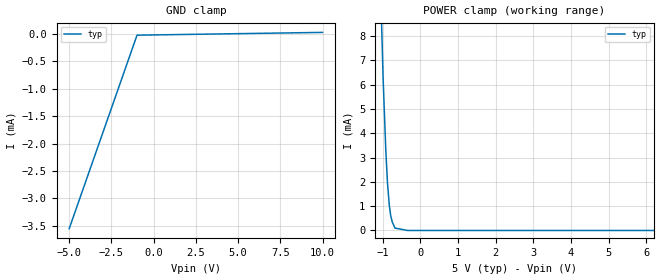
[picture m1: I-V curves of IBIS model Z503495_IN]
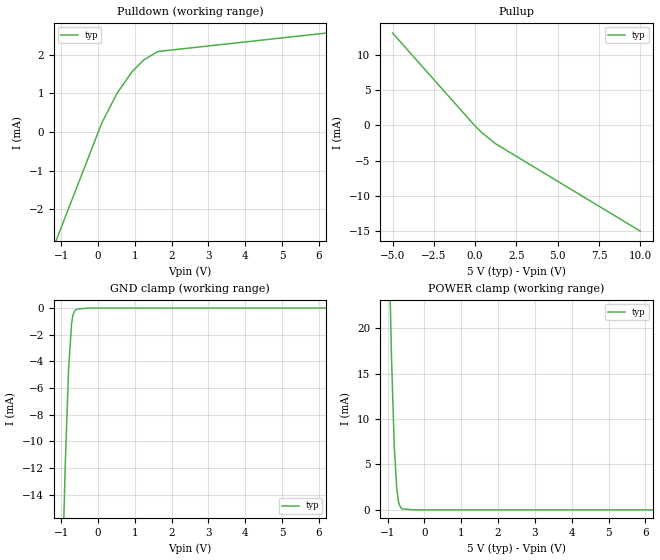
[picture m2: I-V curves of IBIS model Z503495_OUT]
| YOU ARE ONLY AUTHORIZED TO USE THIS SOFTWARE
| ACCORDING TO LICENSOR'S LICENSE RESTRICTIONS.
[IBIS Ver] 3.1
[File Name] mc14021bcp.ibs
[File Rev] 2.0
[Source] Measured and created by ICX Technology
[Date] Friday 7/14/00 9:07:51 AM
[Copyright]
| (C) COPYRIGHT 1993-2000
| MENTOR GRAPHICS CORPORATION
| ICX STANDARD LIBRARY, ICX PROJECT MODELING,
| ICX CUSTOM MODELING, ICX VENDOR MODEL
| ALL RIGHTS RESERVED.
| THE FOLLOWING ARE TRADEMARKS OR SERVICE MARKS OF
| MENTOR GRAPHICS CORPORATION:ICX (R), ICX STANDARD
| LIBRARY(R), ICX PROJECT MODELING(R), ICX CUSTOM
| MODELING(R), qualityIBIS(TM), MODELVIEWER(TM),
| AND MODELEDITOR(TM)
| ALL COPIES OF SOFTWARE, INCLUDING BUT NOT LIMITED TO
| ANY MODIFICATIONS, ENHANCEMENTS OR DERIVATIVE WORKS,
| MUST CONTAIN ALL MENTOR GRAPHICS CORPORATION'S
| NOTICES AND LEGENDS, INCLUDING THOSE EMBEDDED IN
| SOFTWARE AND THOSE AFFIXED TO SOFTWARE MEDIUM
| AND CONTAINER, AS RECEIVED FROM MENTOR GRAPHICS
| CORPORATION.
|  ZAP Model Builder 2.7
[Component] MC14021BCP
[Manufacturer] OnSemiconductor
[Package]
| variable   typ   min   max
R_pkg  .212ohms NA NA
L_pkg  4.758nH NA NA
C_pkg  1.143pF NA NA
[Pin] signal_name  model_name  R_pin  L_pin C_pin
1 P8 Z503495_IN .224 7.258n 1.578p
2 Q6 Z503495_OUT .216 5.258n 1.288p
3 Q8 Z503495_OUT .208 3.758n .998p
4 P4 Z503495_IN .2 2.758n .708p
5 P3 Z503495_IN .2 2.758n .708p
6 P2 Z503495_IN .208 3.758n .998p
7 P1 Z503495_IN .216 5.258n 1.288p
8 VSS GND .224 7.258n 1.578p
9 P/S Z503495_IN .224 7.258n 1.578p
10 C Z503495_IN .216 5.258n 1.288p
11 DS Z503495_IN .208 3.758n .998p
12 Q7 Z503495_OUT .2 2.758n .708p
13 P5 Z503495_IN .2 2.758n .708p
14 P6 Z503495_IN .208 3.758n .998p
15 P7 Z503495_IN .216 5.258n 1.288p
16 VDD POWER .224 7.258n 1.578p
| Models and submodels in the file (2): Z503495_IN (Input), Z503495_OUT (Output)
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| (C) COPYRIGHT 1993-2000
| MENTOR GRAPHICS CORPORATION
| ICX STANDARD LIBRARY, ICX PROJECT MODELING,
| ICX CUSTOM MODELING, ICX VENDOR MODEL
| ALL RIGHTS RESERVED.
| THE FOLLOWING ARE TRADEMARKS OR SERVICE MARKS OF
| MENTOR GRAPHICS CORPORATION:ICX (R), ICX STANDARD
| LIBRARY(R), ICX PROJECT MODELING(R), ICX CUSTOM
| MODELING(R), qualityIBIS(TM), MODELVIEWER(TM),
| AND MODELEDITOR(TM)
| ALL COPIES OF SOFTWARE, INCLUDING BUT NOT LIMITED TO
| ANY MODIFICATIONS, ENHANCEMENTS OR DERIVATIVE WORKS,
| MUST CONTAIN ALL MENTOR GRAPHICS CORPORATION'S
| NOTICES AND LEGENDS, INCLUDING THOSE EMBEDDED IN
| SOFTWARE AND THOSE AFFIXED TO SOFTWARE MEDIUM
| AND CONTAINER, AS RECEIVED FROM MENTOR GRAPHICS
| CORPORATION.
| Model Application Version 1.89 2/18/99.
[Model] Z503495_IN
Model_type Input
Vinl = 1.500V
Vinh = 3.500V
C_comp 4.000pF NA NA
| variable typ   min   max
[Voltage Range] 5.000V NA NA
[GND Clamp Reference] 0.000V NA NA
[POWER Clamp Reference] 5.000V NA NA
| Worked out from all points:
|   POWER clamp passes 1 mA (typ) near -0.82 V on its own axis
[GND Clamp]
-5V       -3.552mA   NA         NA
-985.5mV  -25.52uA   NA         NA
10V       25.16uA    NA         NA
[POWER Clamp]
-5V       410.8mA    NA         NA
-1.286V   27.68mA    NA         NA
-1.088V   12.11mA    NA         NA
-986mV    6.33mA     NA         NA
-913mV    3.297mA    NA         NA
-869mV    1.976mA    NA         NA
-820mV    1.036mA    NA         NA
-784mV    620.9uA    NA         NA
-743mV    352.3uA    NA         NA
-669mV    98.22uA    NA         NA
-334.5mV  0A         NA         NA
10V       0A         NA         NA
| (C) COPYRIGHT 1993-2000
| MENTOR GRAPHICS CORPORATION
| ICX STANDARD LIBRARY, ICX PROJECT MODELING,
| ICX CUSTOM MODELING, ICX VENDOR MODEL
| ALL RIGHTS RESERVED.
| THE FOLLOWING ARE TRADEMARKS OR SERVICE MARKS OF
| MENTOR GRAPHICS CORPORATION:ICX (R), ICX STANDARD
| LIBRARY(R), ICX PROJECT MODELING(R), ICX CUSTOM
| MODELING(R), qualityIBIS(TM), MODELVIEWER(TM),
| AND MODELEDITOR(TM)
| ALL COPIES OF SOFTWARE, INCLUDING BUT NOT LIMITED TO
| ANY MODIFICATIONS, ENHANCEMENTS OR DERIVATIVE WORKS,
| MUST CONTAIN ALL MENTOR GRAPHICS CORPORATION'S
| NOTICES AND LEGENDS, INCLUDING THOSE EMBEDDED IN
| SOFTWARE AND THOSE AFFIXED TO SOFTWARE MEDIUM
| AND CONTAINER, AS RECEIVED FROM MENTOR GRAPHICS
| CORPORATION.
| Model Application Version 1.89 2/18/99.
[Model] Z503495_OUT
Model_type Output
Vref=0.000V
Rref=500.0Mohms
Cref=50.00pF
Vmeas=2.500V
C_comp 8.000pF NA NA
| variable typ   min   max
[Voltage Range] 5.000V NA NA
[POWER Clamp Reference] 5.000V NA NA
[Pullup Reference] 5.000V NA NA
[Pulldown Reference] 0.000V NA NA
[GND Clamp Reference] 0.000V NA NA
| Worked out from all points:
|   slope of the pulldown table from 0 to 0.75 V, typ, clamps not added: 560 ohm
|   slope of the pullup table from 0 to 0.75 V, typ, clamps not added: 473 ohm
|   GND clamp passes 1 mA (typ) near -0.71 V on its own axis
|   POWER clamp passes 1 mA (typ) near -0.71 V on its own axis
[GND Clamp]
-5V       -436.5mA   NA         NA
-888.2mV  -11.64mA   NA         NA
-799.8mV  -4.659mA   NA         NA
-718.8mV  -1.182mA   NA         NA
-683.5mV  -559.6uA   NA         NA
-628.7mV  -182.1uA   NA         NA
-574.2mV  -78.86uA   NA         NA
-287.1mV  0A         NA         NA
10V       0A         NA         NA
[Pulldown]
-5V       -12.29mA   NA         NA
104.9mV   241.6uA    NA         NA
517.2mV   1.003mA    NA         NA
927.7mV   1.569mA    NA         NA
1.246V    1.873mA    NA         NA
1.625V    2.088mA    NA         NA
10V       2.963mA    NA         NA
[Pullup]
-5V       13.11mA    NA         NA
24mV      -154uA     NA         NA
415mV     -1.04mA    NA         NA
1.235V    -2.599mA   NA         NA
10V       -15mA      NA         NA
[POWER Clamp]
-5V       789.4mA    NA         NA
-894mV    17.09mA    NA         NA
-817mV    6.926mA    NA         NA
-748mV    2.253mA    NA         NA
-703mV    907.8uA    NA         NA
-668mV    447.2uA    NA         NA
-615mV    118.1uA    NA         NA
-307.5mV  0A         NA         NA
10V       0A         NA         NA
[Ramp]
| variable typ min max
dV/dt_r 2.541/15.92n NA NA
dV/dt_f 2.541/17.44n NA NA
R_load = 2.500kOhms
